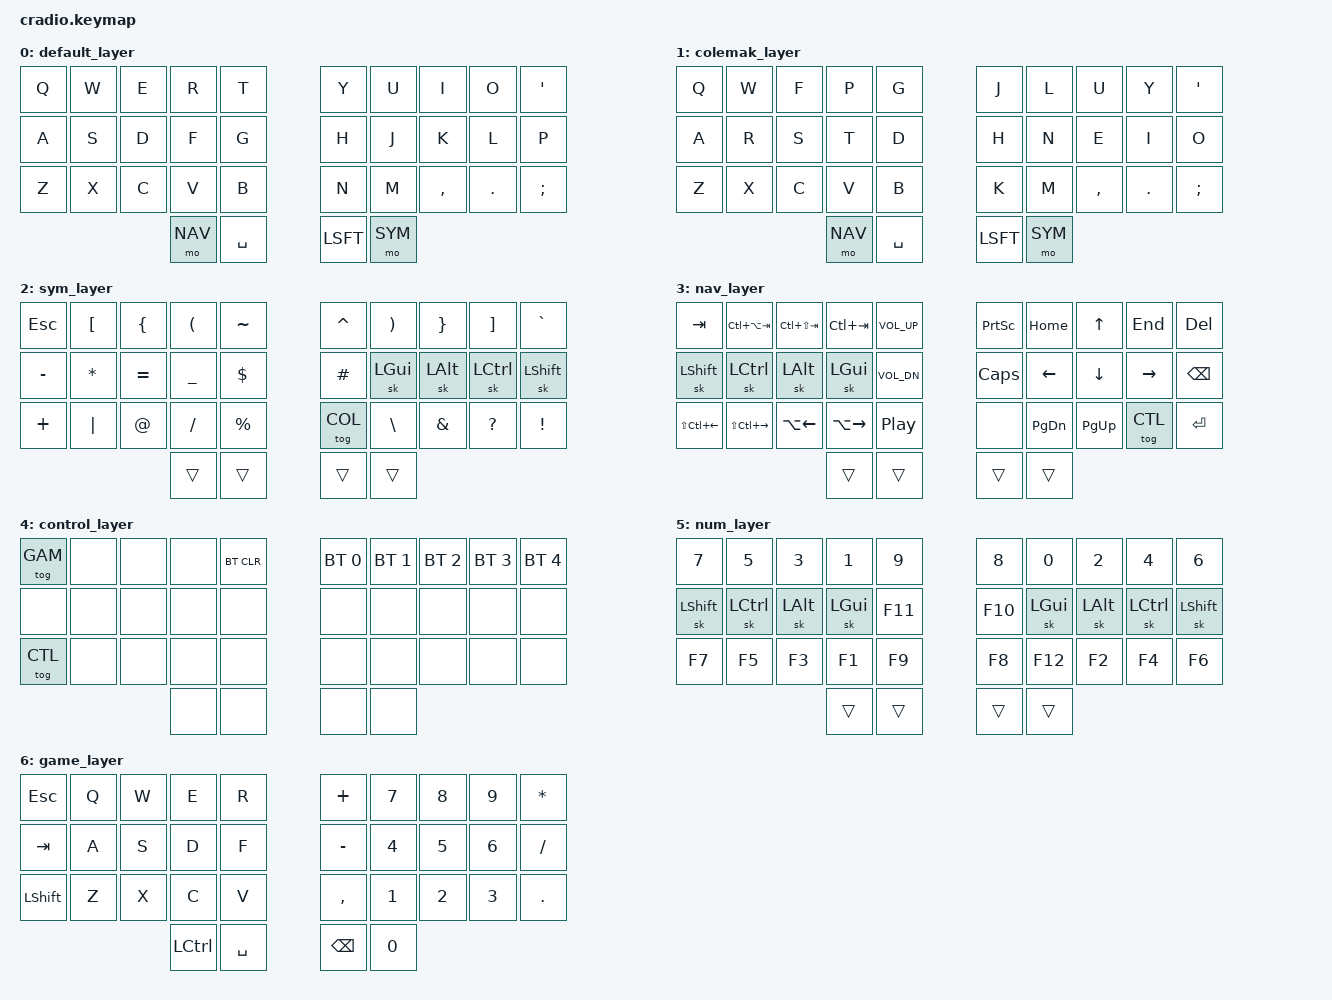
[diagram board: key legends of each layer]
// Copyright (c) 2022 The ZMK Contributors
// SPDX-License-Identifier: MIT

#include <behaviors.dtsi>
#include <dt-bindings/zmk/keys.h>
#include <dt-bindings/zmk/bt.h>
#include <dt-bindings/zmk/outputs.h>

#define DEF 0
#define COL 1
#define SYM 2
#define NAV 3
#define CTL 4
#define NUM 5
#define GAM 6


// Home row mods macro
//#define HRML(k1,k2,k3,k4) &ht LSHFT k1  &ht LALT k2  &ht LCTRL k3  &ht LGUI k4
//#define HRMR(k1,k2,k3,k4) &ht RGUI k1  &ht RCTRL k2  &ht RALT k3  &ht RSHFT k4

&sk {
    release-after-ms = <2000>;
};

/ {
/*    behaviors {
        ht: hold_tap {
            compatible = "zmk,behavior-hold-tap";
            #binding-cells = <2>;
            flavor = "tap-preferred";
            tapping-term-ms = <220>;
            quick-tap-ms = <150>;
            require-prior-idle-ms = <100>;
            bindings = <&kp>, <&kp>;
        };
    };
*/
    macros {
        m_rtb: m_rtb {
            compatible = "zmk,behavior-macro";
            #binding-cells = <0>;
            bindings
                = <&macro_tap &tog GAM>
                , <&macro_tap &tog CTL>
                ;
        };
    };

    conditional_layers {
        compatible = "zmk,conditional-layers";
        tri_layer {
            if-layers = <2 3>;
            then-layer = <4>;
        };
    };

    combos {
        compatible = "zmk,combos";

        combo_rtb {
            bindings = <&m_rtb>;
            key-positions = <9 29>;
        };
    };

    keymap {
        compatible = "zmk,keymap";
        default_layer {
            bindings = <
        //╭──────────┬──────────┬──────────┬──────────┬──────────╮   ╭──────────┬──────────┬──────────┬──────────┬──────────╮
        //│  Q       │  W       │  E       │  R       │  T       │   │  Y       │  U       │  I       │  O       │ ' "      │
            &kp Q      &kp W      &kp E      &kp R      &kp T          &kp Y      &kp U      &kp I      &kp O      &kp SQT
        //├──────────┼──────────┼──────────┼──────────┼──────────┤   ├──────────┼──────────┼──────────┼──────────┼──────────┤
        //│  A       │  S       │  D       │  F       │  G       │   │  H       │  J       │  K       │  L       │  P       │
            &kp A      &kp S      &kp D      &kp F      &kp G          &kp H      &kp J      &kp K      &kp L      &kp P
        //├──────────┼──────────┼──────────┼──────────┼──────────┤   ├──────────┼──────────┼──────────┼──────────┼──────────┤
        //│  Z       │  X       │  C       │  V       │  B       │   │  N       │  M       │ , <      │ . >      │ ; :      │
            &kp Z      &kp X      &kp C      &kp V      &kp B          &kp N      &kp M      &kp COMMA  &kp DOT    &kp SEMI
        //╰──────────┴──────────┴──────────┼──────────┼──────────┤   ├──────────┼──────────┼──────────┴──────────┴──────────╯
                                            &mo NAV     &kp SPACE      &kp LSFT   &mo SYM
        //                                 ╰──────────┴──────────╯   ╰──────────┴──────────╯
            >;
        };

        colemak_layer {
            bindings = <
        //╭──────────┬──────────┬──────────┬──────────┬──────────╮   ╭──────────┬──────────┬──────────┬──────────┬──────────╮
        //│  Q       │  W       │  F       │  P       │  G       │   │  J       │  L       │  U       │  Y       │ ' "      │
            &kp Q      &kp W      &kp F      &kp P      &kp G          &kp J      &kp L      &kp U      &kp Y      &kp SQT
        //├──────────┼──────────┼──────────┼──────────┼──────────┤   ├──────────┼──────────┼──────────┼──────────┼──────────┤
        //│  A       │  R       │  S       │  T       │  D       │   │  H       │  N       │  E       │  I       │  O       │
            &kp A      &kp R      &kp S      &kp T      &kp D          &kp H      &kp N      &kp E      &kp I      &kp O
        //├──────────┼──────────┼──────────┼──────────┼──────────┤   ├──────────┼──────────┼──────────┼──────────┼──────────┤
        //│  Z       │  X       │  C       │  V       │  B       │   │  K       │  M       │ , <      │ . >      │ ; :      │
            &kp Z      &kp X      &kp C      &kp V      &kp B          &kp K      &kp M      &kp COMMA  &kp DOT    &kp SEMI
        //╰──────────┴──────────┴──────────┼──────────┼──────────┤   ├──────────┼──────────┼──────────┴──────────┴──────────╯
                                            &mo NAV     &kp SPACE      &kp LSFT   &mo SYM
        //                                 ╰──────────┴──────────╯   ╰──────────┴──────────╯
            >;
        };

        sym_layer {
            bindings = <
        //╭──────────┬──────────┬──────────┬──────────┬──────────╮   ╭──────────┬──────────┬──────────┬──────────┬──────────╮
        //│          │  [       │  {       │  (       │  ~       │   │  ^       │  )       │  }       │  ]       │  `       │
            &kp ESC    &kp LBKT   &kp LBRC   &kp LPAR   &kp TILDE      &kp CARET  &kp RPAR   &kp RBRC   &kp RBKT   &kp GRAVE
        //├──────────┼──────────┼──────────┼──────────┼──────────┤   ├──────────┼──────────┼──────────┼──────────┼──────────┤
        //│  -       │  *       │  =       │  _       │  $       │   │  #       │  OSG     │  OSA     │  OSC     │  OSS     │
            &kp MINUS  &kp STAR   &kp EQUAL  &kp UNDER  &kp DLLR       &kp HASH   &sk LGUI   &sk LALT   &sk LCTRL  &sk LSHFT
        //├──────────┼──────────┼──────────┼──────────┼──────────┤   ├──────────┼──────────┼──────────┼──────────┼──────────┤
        //│  +       │  |       │  @       │  /       │  %       │   │  TogCol  │  \       │  &       │  ?       │  !       │
            &kp PLUS   &kp PIPE   &kp AT     &kp FSLH   &kp PRCNT      &tog COL   &kp BSLH   &kp AMPS   &kp QMARK  &kp EXCL
        //╰──────────┴──────────┴──────────┼──────────┼──────────┤   ├──────────┼──────────┼──────────┴──────────┴──────────╯
                                             &trans     &trans         &trans     &trans
        //                                 ╰──────────┴──────────╯   ╰──────────┴──────────╯
            >;
        };

        nav_layer {
            bindings = <
        //╭───────────────┬───────────────┬───────────────┬──────────┬───────────────╮   ╭──────────┬──────────┬──────────┬──────────┬──────────╮
        //│  TAB          │  WinSwap      │               │          │  Vol+         │   │  PntScn  │  Home    │  Up      │  End     │  Delete  │
            &kp TAB   &kp LC(LA(TAB)) &kp LC(LS(TAB)) &kp LC(TAB) &kp C_VOL_UP             &kp PSCRN  &kp HOME   &kp UP     &kp END    &kp DEL
        //├───────────────┼───────────────┼───────────────┼──────────┼───────────────┤   ├──────────┼──────────┼──────────┼──────────┼──────────┤
        //│  OSS             OSC          │  OSA          │  OSG     │  Vol-         │   │  CapLock │  Left    │  Down    │  Right   │ Backspace│
            &sk LSHFT       &sk LCTRL       &sk LALT        &sk LGUI   &kp C_VOL_DN        &kp CAPS   &kp LEFT   &kp DOWN   &kp RIGHT  &kp BSPC
        //├───────────────┼───────────────┼───────────────┼──────────┼───────────────┤   ├──────────┼──────────┼──────────┼──────────┼──────────┤
        //│  SelWordLt    │  SelWordRt    │  BACK         │   FWD    │  Play/Pause   │   │          │  PageDown│  PageUp  │  TogCtl  │  Enter   │
          &kp LS(LC(LEFT)) &kp LS(LC(RIGHT)) &kp LA(LEFT) &kp LA(RIGHT) &kp C_PP           &none      &kp PG_DN  &kp PG_UP  &tog CTL   &kp ENTER
        //╰───────────────┴───────────────┴───────────────┼──────────┼───────────────┤   ├──────────┼──────────┼──────────┴──────────┴──────────╯
                                                            &trans     &trans              &trans     &trans
        //                                                ╰──────────┴───────────────╯   ╰──────────┴──────────╯
            >;
        };

        control_layer {
            bindings = <
        //╭──────────┬──────────┬──────────┬──────────┬──────────╮   ╭────────────┬────────────┬────────────┬────────────┬────────────╮
        //│Game Layer│          │          │          │ Clear BT     │   │ Profile 0  │ Profile 1  │ Profile 2  │ Profile 3  │ Profile 4│
            &tog GAM   &none      &none      &none     &bt BT_CLR     &bt BT_SEL 0 &bt BT_SEL 1 &bt BT_SEL 2 &bt BT_SEL 3 &bt BT_SEL 4
        //├──────────┼──────────┼──────────┼──────────┼──────────┤   ├────────────┼────────────┼────────────┼────────────┼────────────┤
        //│BOOTLOADER│          │          │          │          │   │            │            │            │            │            │
            &none      &none      &none      &none      &none          &none        &none        &none        &none        &none
        //├──────────┼──────────┼──────────┼──────────┼──────────┤   ├────────────┼────────────┼────────────┼────────────┼────────────┤
        //│  TogCtl  │          │          │          │          │   │            │            │            │            │            │
            &tog CTL   &none      &none      &none      &none          &none        &none        &none        &none        &none
        //╰──────────┴──────────┴──────────┼──────────┼──────────┤   ├────────────┼────────────┼────────────┴────────────┴────────────╯
                                             &none      &none          &none        &none
        //                                 ╰──────────┴──────────╯   ╰────────────┴────────────╯
            >;
        };

        num_layer {
            bindings = <
        //╭──────────┬──────────┬──────────┬──────────┬──────────╮   ╭──────────┬──────────┬──────────┬──────────┬──────────╮
        //│  7       │  5       │  3       │  1       │  9       │   │  8       │  0       │  2       │  4       │  6       │
            &kp N7     &kp N5     &kp N3     &kp N1     &kp N9         &kp N8     &kp N0     &kp N2     &kp N4     &kp N6
        //├──────────┼──────────┼──────────┼──────────┼──────────┤   ├──────────┼──────────┼──────────┼──────────┼──────────┤
        //│  OSS     │  OSC     │  OSA     │  OSG     │  F11     │   │  F10     │  OSG     │  OSA     │  OSC     │  OSS     │
            &sk LSHFT  &sk LCTRL  &sk LALT   &sk LGUI   &kp F11        &kp F10    &sk LGUI   &sk LALT   &sk LCTRL  &sk LSHFT
        //├──────────┼──────────┼──────────┼──────────┼──────────┤   ├──────────┼──────────┼──────────┼──────────┼──────────┤
        //│  F7      │  F5      │  F3      │  F1      │  F9      │   │  F8      │  F12     │  F2      │  F4      │  F6      │
            &kp F7     &kp F5     &kp F3     &kp F1     &kp F9         &kp F8     &kp F12    &kp F2     &kp F4     &kp F6
        //╰──────────┴──────────┴──────────┼──────────┼──────────┤   ├──────────┼──────────┼──────────┴──────────┴──────────╯
                                             &trans     &trans         &trans     &trans
        //                                 ╰──────────┴──────────╯   ╰──────────┴──────────╯
            >;
        };

        game_layer {
            bindings = <
        //╭──────────┬──────────┬──────────┬──────────┬──────────╮   ╭──────────┬──────────┬──────────┬──────────┬──────────╮
        //│  ESC     │  Q       │  W       │  E       │  R       │   │  +       │  7       │  8       │  9       │  *       │
            &kp ESC    &kp Q      &kp W      &kp E      &kp R          &kp PLUS   &kp N7     &kp N8     &kp N9     &kp STAR
        //├──────────┼──────────┼──────────┼──────────┼──────────┤   ├──────────┼──────────┼──────────┼──────────┼──────────┤
        //│  Tab     │  A       │  S       │  D       │  F       │   │  -       │  4       │  5       │  6       │  /       │
            &kp TAB    &kp A      &kp S      &kp D      &kp F          &kp MINUS  &kp N4     &kp N5     &kp N6     &kp FSLH
        //├──────────┼──────────┼──────────┼──────────┼──────────┤   ├──────────┼──────────┼──────────┼──────────┼──────────┤
        //│  Shift   │  Z       │  X       │  C       │  V       │   │  ,       │  1       │  2       │  3       │  .       │
            &kp LSHFT  &kp Z      &kp X      &kp C      &kp V          &kp COMMA  &kp N1     &kp N2     &kp N3     &kp DOT
        //╰──────────┴──────────┴──────────┼──────────┼──────────┤   ├──────────┼──────────┼──────────┴──────────┴──────────╯
                                             &kp LCTRL  &kp SPACE      &kp BSPC   &kp N0    
        //                                 ╰──────────┴──────────╯   ╰──────────┴──────────╯
            >;
        };        
    };
};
